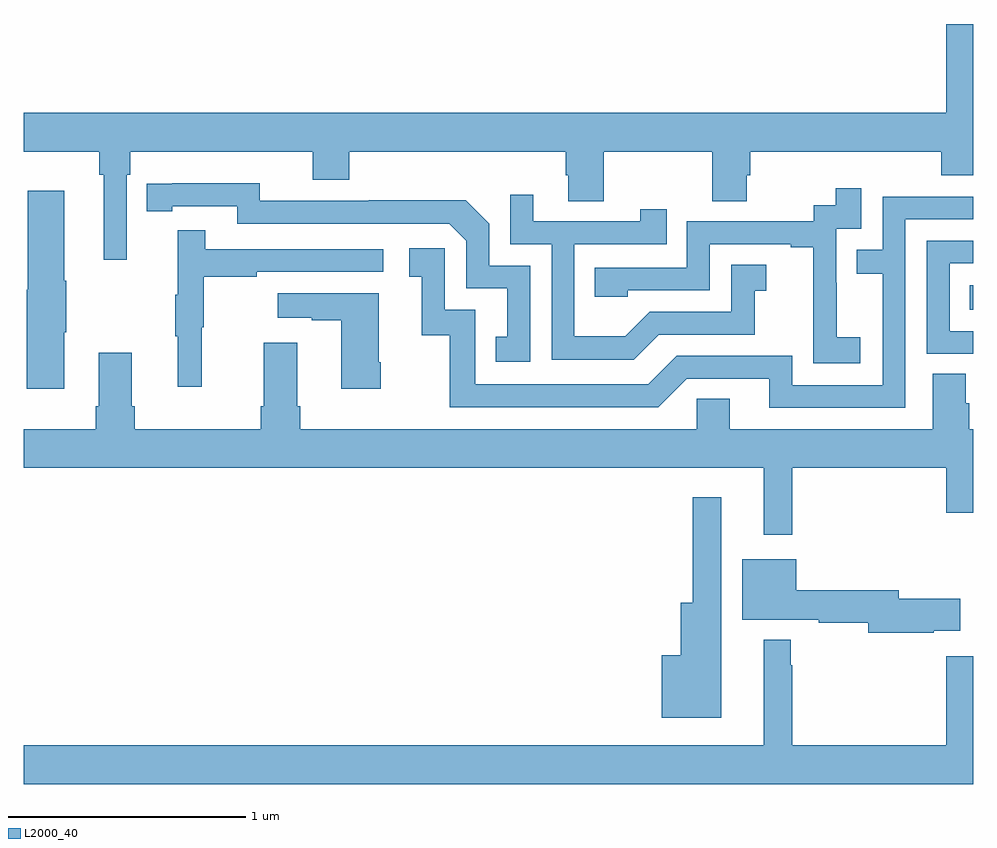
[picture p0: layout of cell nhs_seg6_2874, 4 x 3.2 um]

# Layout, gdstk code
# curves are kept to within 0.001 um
import gdstk
lib = gdstk.Library(unit=1e-6, precision=1e-09)
def R(c, l, rs):  # rectangles x0, y0, x1, y1
    for r in rs: c.add(gdstk.rectangle(r[:2], r[2:], *l))
def P(c, l, *ps):  # polygons
    for p in ps: c.add(gdstk.Polygon(p, *l))
L2000_40 = (2000, 40)

nhs_seg6_2874 = lib.new_cell('nhs_seg6_2874')
R(nhs_seg6_2874, L2000_40, [(284.986,924.026,285,924.13)])
P(nhs_seg6_2874, L2000_40, [(281.433,924.596),(281.447,924.596),(281.447,924.692),(282.218,924.692),(282.218,924.575),(282.371,924.575),(282.371,924.692),(283.283,924.692),(283.283,924.594),(283.295,924.594),(283.295,924.484),(283.443,924.484),(283.443,924.692),(283.9,924.692),(283.9,924.484),(284.047,924.484),(284.047,924.594),(284.06,924.594),(284.06,924.692),(284.867,924.692),(284.867,924.593),(285,924.593),(285,925.231),(284.888,925.231),(284.888,924.856),(281,924.856),(281,924.692),(281.317,924.692),(281.317,924.596),(281.336,924.596),(281.336,924.237),(281.433,924.237)],
  [(283.134,924.213),(282.96,924.213),(282.96,924.39),(282.862,924.488),(282.454,924.488),(282.454,924.486),(281.994,924.486),(281.994,924.559),(281.518,924.558),(281.518,924.442),(281.626,924.442),(281.626,924.462),(281.898,924.462),(281.898,924.39),(282.792,924.39),(282.864,924.318),(282.864,924.117),(283.037,924.117),(283.037,923.913),(282.988,923.913),(282.988,923.808),(283.134,923.808)],
  [(284.524,923.911),(284.426,923.911),(284.426,924.14),(284.424,924.14),(284.424,924.369),(284.529,924.369),(284.529,924.538),(284.421,924.538),(284.421,924.468),(284.328,924.468),(284.328,924.399),(283.794,924.399),(283.794,924.204),(283.405,924.204),(283.405,924.081),(283.545,924.081),(283.545,924.108),(283.89,924.108),(283.89,924.303),(284.231,924.303),(284.231,924.291),(284.327,924.291),(284.327,924.007),(284.326,924.007),(284.326,923.801),(284.524,923.801)],
  [(281.17,923.932),(281.178,923.932),(281.178,924.149),(281.17,924.149),(281.17,924.529),(281.017,924.529),(281.017,924.111),(281.012,924.111),(281.012,923.694),(281.17,923.694)],
  [(283.675,923.922),(284.079,923.922),(284.079,924.107),(284.128,924.107),(284.128,924.217),(283.98,924.217),(283.98,924.018),(283.638,924.018),(283.534,923.914),(283.32,923.914),(283.32,924.303),(283.709,924.303),(283.709,924.451),(283.598,924.451),(283.598,924.399),(283.147,924.399),(283.147,924.511),(283.05,924.511),(283.05,924.303),(283.224,924.303),(283.224,923.817),(283.57,923.817)],
  [(284.715,924.408),(285,924.408),(285,924.504),(284.619,924.504),(284.619,924.279),(284.509,924.279),(284.509,924.178),(284.619,924.178),(284.619,923.709),(284.238,923.709),(284.238,923.832),(283.752,923.832),(283.632,923.712),(282.903,923.712),(282.903,924.027),(282.774,924.027),(282.774,924.286),(282.624,924.286),(282.624,924.165),(282.677,924.165),(282.677,923.919),(282.795,923.919),(282.795,923.616),(283.674,923.616),(283.794,923.736),(284.141,923.736),(284.141,923.613),(284.715,923.613)],
  [(281.75,923.952),(281.758,923.952),(281.758,924.166),(281.981,924.166),(281.981,924.186),(282.514,924.186),(282.514,924.282),(281.765,924.282),(281.765,924.361),(281.648,924.361),(281.648,924.089),(281.637,924.089),(281.637,923.915),(281.648,923.915),(281.648,923.703),(281.75,923.703)],
  [(285,923.937),(284.901,923.937),(284.901,924.222),(285,924.222),(285,924.318),(284.805,924.318),(284.805,923.841),(285,923.841)],
  [(282.504,923.806),(282.496,923.806),(282.496,924.097),(282.069,924.097),(282.069,923.993),(282.212,923.993),(282.212,923.983),(282.338,923.983),(282.338,923.694),(282.504,923.694)],
  [(284.239,923.36),(284.888,923.36),(284.888,923.172),(285,923.172),(285,923.524),(284.984,923.524),(284.984,923.633),(284.97,923.633),(284.97,923.756),(284.831,923.756),(284.831,923.524),(283.975,923.524),(283.975,923.651),(283.836,923.651),(283.836,923.524),(282.164,923.524),(282.164,923.62),(282.151,923.62),(282.151,923.887),(282.011,923.887),(282.011,923.62),(281.999,923.62),(281.999,923.524),(281.468,923.524),(281.468,923.62),(281.455,923.62),(281.455,923.845),(281.315,923.845),(281.315,923.62),(281.303,923.62),(281.303,923.524),(281,923.524),(281,923.36),(284.117,923.36),(284.117,923.079),(284.239,923.079)],
  [(283.939,923.236),(283.818,923.236),(283.818,922.792),(283.769,922.792),(283.769,922.57),(283.688,922.57),(283.688,922.307),(283.939,922.307)],
  [(284.834,922.673),(284.947,922.673),(284.947,922.808),(284.686,922.808),(284.686,922.844),(284.254,922.844),(284.254,922.975),(284.027,922.975),(284.027,922.721),(284.35,922.721),(284.35,922.708),(284.558,922.708),(284.558,922.666),(284.834,922.666)],
  [(285,922.567),(284.888,922.567),(284.888,922.192),(284.239,922.192),(284.239,922.529),(284.232,922.529),(284.232,922.636),(284.117,922.636),(284.117,922.192),(281,922.192),(281,922.028),(285,922.028)])

lib.write_gds('nhs_seg6_2874.gds')
